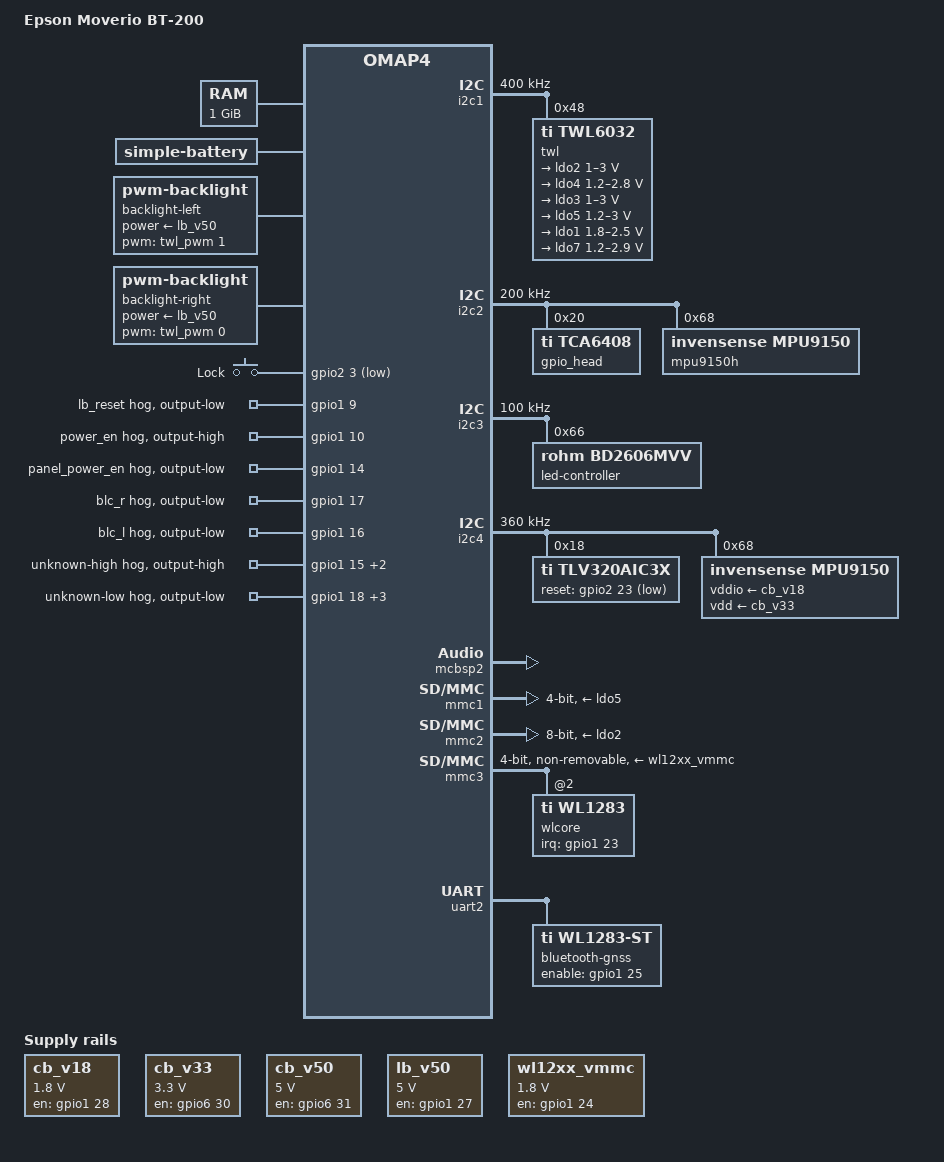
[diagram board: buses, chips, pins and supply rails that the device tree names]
// SPDX-License-Identifier: GPL-2.0-only
/*
 * Copyright (C) 2023 Andreas Kemnade
 */
/dts-v1/;

#include <dt-bindings/leds/common.h>
#include <dt-bindings/input/input.h>
#include "omap4460.dtsi"

/ {
	model = "Epson Moverio BT-200";
	compatible = "epson,embt2ws", "ti,omap4460", "ti,omap4";

	memory@80000000 {
		device_type = "memory";
		reg = <0x80000000 0x40000000>; /* 1024M */
	};

	battery: battery {
		compatible = "simple-battery";
		device-chemistry = "lithium-ion";
		charge-full-design-microamp-hours = <2720000>;
		voltage-max-design-microvolt = <4200000>;
		voltage-min-design-microvolt = <3300000>;

		constant-charge-voltage-max-microvolt = <4200000>;
		/*
		 * vendor kernel says max charge 1400000, input limit 900000
		 * and charges only with dcp chargers. So it is unclear what
		 * is really allowed. Play safe for now and restrict things
		 * here. Maybe 900000 is just the limit of the vendor charger?
		 */
		constant-charge-current-max-microamp = <900000>;
		charge-term-current-microamp = <200000>;
	};

	backlight-left {
		compatible = "pwm-backlight";
		pwms = <&twl_pwm 1 7812500>;
		power-supply = <&lb_v50>;
	};

	backlight-right {
		compatible = "pwm-backlight";
		pwms = <&twl_pwm 0 7812500>;
		power-supply = <&lb_v50>;
	};

	chosen {
		stdout-path = &uart3;
	};

	gpio-keys {
		compatible = "gpio-keys";
		pinctrl-names = "default";
		pinctrl-0 = <&gpio_keys_pins>;

		key-lock {
			label = "Lock";
			gpios = <&gpio2 3 GPIO_ACTIVE_LOW>;
			linux,code = <SW_ROTATE_LOCK>; /* SW_TOUCHPAD_LOCK */
			linux,input-type = <EV_SW>;
		};
	};

	cb_v18: regulator-cb-v18 {
		pinctrl-names = "default";
		pinctrl-0 = <&cb_v18_pins>;
		compatible = "regulator-fixed";
		regulator-name = "cb_v18";
		regulator-min-microvolt = <1800000>;
		regulator-max-microvolt = <1800000>;
		regulator-always-on;
		gpio = <&gpio1 28 GPIO_ACTIVE_HIGH>;
		enable-active-high;
	};

	cb_v33: regulator-cb-v33 {
		pinctrl-names = "default";
		pinctrl-0 = <&cb_v33_pins>;
		compatible = "regulator-fixed";
		regulator-name = "cb_v33";
		regulator-min-microvolt = <3300000>;
		regulator-max-microvolt = <3300000>;
		regulator-always-on;
		gpio = <&gpio6 30 GPIO_ACTIVE_HIGH>;
		enable-active-high;
	};

	regulator-cb-v50 {
		pinctrl-names = "default";
		pinctrl-0 = <&cb_v50_pins>;
		compatible = "regulator-fixed";
		regulator-name = "cb_v50";
		regulator-min-microvolt = <5000000>;
		regulator-max-microvolt = <5000000>;
		regulator-always-on;
		gpio = <&gpio6 31 GPIO_ACTIVE_HIGH>;
		enable-active-high;
	};

	lb_v50: regulator-lb-v50 {
		/* required for many things at the head (probably indirectly) */
		pinctrl-names = "default";
		pinctrl-0 = <&lb_v50_pins>;
		compatible = "regulator-fixed";
		regulator-name = "lb_v50";
		regulator-min-microvolt = <5000000>;
		regulator-max-microvolt = <5000000>;
		regulator-always-on;
		gpio = <&gpio1 27 GPIO_ACTIVE_HIGH>;
		enable-active-high;
	};

	wl12xx_pwrseq: wl12xx-pwrseq {
		compatible = "mmc-pwrseq-simple";
		clocks = <&twl 1>;
		clock-names = "ext_clock";
	};

       /* regulator for wl12xx on sdio2 */
	wl12xx_vmmc: wl12xx-vmmc {
		pinctrl-names = "default";
		pinctrl-0 = <&wl12xx_gpio>;
		compatible = "regulator-fixed";
		regulator-name = "vwl1271";
		regulator-min-microvolt = <1800000>;
		regulator-max-microvolt = <1800000>;
		gpio = <&gpio1 24 GPIO_ACTIVE_HIGH>;
		startup-delay-us = <70000>;
		enable-active-high;
	};
};

&gpio1 {
	pinctrl-names = "default";
	pinctrl-0 = <&gpio1_hog_pins &gpio1wk_hog_pins>;

	lb-reset-hog {
		gpio-hog;
		gpios = <9 GPIO_ACTIVE_HIGH>;
		output-low;
		line-name = "lb_reset";
	};

	power-en-hog {
		gpio-hog;
		gpios = <10 GPIO_ACTIVE_HIGH>;
		output-high;
		line-name = "power_en";
	};

	/*
	 * Name taken from vendor kernel but no evidence of actual usage found
	 * nor what it really controls.
	 */
	panel-power-en-hog {
		gpio-hog;
		gpios = <14 GPIO_ACTIVE_HIGH>;
		output-low;
		line-name = "panel_power_en";
	};

	/*
	 * These two are exported to sysfs in vendor kernel, usage unknown,
	 * backlight state seems unrelated to these.
	 */
	blc-r-hog {
		gpio-hog;
		gpios = <17 GPIO_ACTIVE_HIGH>;
		output-low;
		line-name = "blc_r";
	};

	blc-l-hog {
		gpio-hog;
		gpios = <16 GPIO_ACTIVE_HIGH>;
		output-low;
		line-name = "blc_l";
	};

	high-hog {
		gpio-hog;
		gpios = <15 GPIO_ACTIVE_HIGH /* maybe dsi to dpi chip reset? */
			 21 GPIO_ACTIVE_HIGH
			 26 GPIO_ACTIVE_HIGH>;
		output-high;
		line-name = "unknown-high";
	};

	low-hog {
		gpio-hog;
		gpios = <18 GPIO_ACTIVE_HIGH
			 19 GPIO_ACTIVE_HIGH
			 20 GPIO_ACTIVE_HIGH
			 22 GPIO_ACTIVE_HIGH>;
		output-low;
		line-name = "unknown-low";
	};
};

&i2c1 {
	pinctrl-names = "default";
	pinctrl-0 = <&i2c1_pins>;

	clock-frequency = <400000>;

	twl: pmic@48 {
		compatible = "ti,twl6032";
		reg = <0x48>;
		#clock-cells = <1>;
		/* IRQ# = 7 */
		interrupts = <GIC_SPI 7 IRQ_TYPE_LEVEL_HIGH>; /* IRQ_SYS_1N cascaded to gic */
		interrupt-controller;
		#interrupt-cells = <1>;
		system-power-controller;

		charger {
			compatible = "ti,twl6032-charger", "ti,twl6030-charger";
			interrupts = <2>, <5>;
			io-channels = <&gpadc 10>;
			io-channel-names = "vusb";
			monitored-battery = <&battery>;
		};

		rtc {
			compatible = "ti,twl4030-rtc";
			interrupts = <11>;
		};

		ldo2: regulator-ldo2 {
			compatible = "ti,twl6032-ldo2";
			regulator-min-microvolt = <1000000>;
			regulator-max-microvolt = <3000000>;
		};

		ldo4: regulator-ldo4 {
			compatible = "ti,twl6032-ldo4";
			regulator-min-microvolt = <1200000>;
			regulator-max-microvolt = <2800000>;
		};

		ldo3: regulator-ldo3 {
			compatible = "ti,twl6032-ldo3";
			regulator-min-microvolt = <1000000>;
			regulator-max-microvolt = <3000000>;
		};

		ldo5: regulator-ldo5 {
			compatible = "ti,twl6032-ldo5";
			regulator-min-microvolt = <1200000>;
			regulator-max-microvolt = <3000000>;
			ti,retain-on-reset;
		};

		ldo1: regulator-ldo1 {
			compatible = "ti,twl6032-ldo1";
			regulator-min-microvolt = <1800000>;
			regulator-max-microvolt = <2500000>;
		};

		ldo7: regulator-ldo7 {
			compatible = "ti,twl6032-ldo7";
			regulator-min-microvolt = <1200000>;
			regulator-max-microvolt = <2900000>;
		};

		ldoln: regulator-ldoln {
			compatible = "ti,twl6032-ldoln";
			regulator-always-on;
		};

		ldo6: regulator-ldo6 {
			compatible = "ti,twl6032-ldo6";
			regulator-always-on;
		};

		ldousb: regulator-ldousb {
			compatible = "ti,twl6032-ldousb";
			regulator-always-on;
		};

		vio: regulator-vio {
			compatible = "ti,twl6032-vio";
			regulator-always-on;
		};

		twl_usb_comparator: usb-comparator {
			compatible = "ti,twl6030-usb";
			interrupts = <4>, <10>;
		};

		twl_pwm: pwm {
			/* provides two PWMs (id 0, 1 for PWM1 and PWM2) */
			compatible = "ti,twl6030-pwm";
			#pwm-cells = <2>;
		};

		twl_pwmled: pwmled {
			/* provides one PWM (id 0 for Charging indicator LED) */
			compatible = "ti,twl6030-pwmled";
			#pwm-cells = <2>;
		};

		gpadc: gpadc {
			compatible = "ti,twl6032-gpadc";
			interrupts = <3>;
			#io-channel-cells = <1>;
		};

	};
};

#include "twl6030_omap4.dtsi"

&twl_usb_comparator {
	usb-supply = <&ldousb>;
};


&i2c2 {
	pinctrl-names = "default";
	pinctrl-0 = <&i2c2_pins>;

	clock-frequency = <200000>;

	/* is sometimes not available, research needed */
	gpio_head: gpio@20 {
		compatible = "ti,tca6408";
		reg = <0x20>;
		gpio-controller;
		#gpio-cells = <2>;
	};

	/*
	 * camera chip at 0x3c, available if <&gpio_head 1> high
	 * and <&gpio_head 5> low
	 */

	/* at head/glasses */
	mpu9150h: imu@68 {
		compatible = "invensense,mpu9150";
		reg = <0x68>;

		pinctrl-names = "default";
		pinctrl-0 = <&mpu9150h_pins>;
		interrupt-parent = <&gpio2>;
		interrupt = <19 IRQ_TYPE_LEVEL_HIGH>;
	};
};

&i2c3 {
	pinctrl-names = "default";
	pinctrl-0 = <&i2c3_pins>;

	clock-frequency = <100000>;

	led-controller@66 {
		compatible = "rohm,bd2606mvv";
		reg = <0x66>;

		#address-cells = <1>;
		#size-cells = <0>;

		led@0 {
			reg = <0>;
			color = <LED_COLOR_ID_GREEN>;
			function = LED_FUNCTION_STATUS;
		};

		led@2 {
			reg = <2>;
			color = <LED_COLOR_ID_BLUE>;
			function = LED_FUNCTION_STATUS;
		};

		led@4 {
			reg = <4>;
			color = <LED_COLOR_ID_RED>;
			function = LED_FUNCTION_STATUS;
		};
	};
};

&i2c4 {
	pinctrl-names = "default";
	pinctrl-0 = <&i2c4_pins>;

	clock-frequency = <360000>;

	/* TODO: KXTI9 at 0xf */

	tlv320aic3x: codec@18 {
		compatible = "ti,tlv320aic3x";
		reg = <0x18>;
		pinctrl-names = "default";
		pinctrl-0 = <&tlv320aic3x_pins>;
		#sound-dai-cells = <0>;

		reset-gpios = <&gpio2 23 GPIO_ACTIVE_LOW>;
	};

	mpu9150: imu@68 {
		compatible = "invensense,mpu9150";
		reg = <0x68>;

		pinctrl-names = "default";
		pinctrl-0 = <&mpu9150_pins>;
		interrupt-parent = <&gpio2>;
		interrupt = <7 IRQ_TYPE_LEVEL_HIGH>;
		vddio-supply = <&cb_v18>;
		vdd-supply = <&cb_v33>;
		invensense,level-shifter;
	};
};

&keypad {
	pinctrl-names = "default";
	pinctrl-0 = <&keypad_pins>;
	keypad,num-rows = <2>;
	keypad,num-columns = <3>;
	linux,keymap = <MATRIX_KEY(0, 0, KEY_MENU)
			MATRIX_KEY(0, 1, KEY_HOME)
			MATRIX_KEY(0, 2, KEY_BACK)
			MATRIX_KEY(1, 0, KEY_ESC)
			MATRIX_KEY(1, 1, KEY_VOLUMEDOWN)
			MATRIX_KEY(1, 2, KEY_VOLUMEUP)>;
	linux,input-no-autorepeat;
};

&mcbsp2 {
	#sound-dai-cells = <0>;
	pinctrl-names = "default";
	pinctrl-0 = <&mcbsp2_pins>;
	status = "okay";
};


&mmc1 {
	/* sdcard */
	vmmc-supply = <&ldo5>;
	broken-cd;
	bus-width = <4>;
};

&mmc2 {
	/* emmc */
	vmmc-supply = <&ldo2>;
	bus-width = <8>;
};

&mmc3 {
	pinctrl-names = "default";
	pinctrl-0 = <&wl12xx_pins>;
	vmmc-supply = <&wl12xx_vmmc>;
	mmc-pwrseq = <&wl12xx_pwrseq>;
	interrupts-extended = <&wakeupgen GIC_SPI 94 IRQ_TYPE_LEVEL_HIGH
			       &omap4_pmx_core 0x12e>;
	non-removable;
	bus-width = <4>;
	cap-power-off-card;

	#address-cells = <1>;
	#size-cells = <0>;
	wlcore: wlcore@2 {
		compatible = "ti,wl1283";
		reg = <2>;
		interrupts-extended = <&gpio1 23 IRQ_TYPE_LEVEL_HIGH>;
		interrupt-names = "irq";
		ref-clock-frequency = <26000000>;
		tcxo-clock-frequency = <26000000>;
	};
};

&mmc4 {
	status = "disabled";
};

&mmc5 {
	status = "disabled";
};

&omap4_pmx_core {
	bt_pins: pinmux-bt-pins {
		pinctrl-single,pins = <
			OMAP4_IOPAD(0x1ca, PIN_OUTPUT | MUX_MODE3) /* gpio25 */
		>;
	};

	cb_v18_pins: pinmux-cb-v18-pins {
		pinctrl-single,pins = <
			OMAP4_IOPAD(0x1d0, PIN_OUTPUT | MUX_MODE3) /* gpio28 */
		>;
	};

	cb_v33_pins: pinmux-cb-v33-pins {
		pinctrl-single,pins = <
			OMAP4_IOPAD(0x1d2, PIN_OUTPUT | MUX_MODE3) /* gpio190 */
		>;
	};

	cb_v50_pins: pinmux-cb-v50-pins {
		pinctrl-single,pins = <
			OMAP4_IOPAD(0x1d4, PIN_OUTPUT | MUX_MODE3) /* gpio191 */
		>;
	};

	gpio_keys_pins: pinmux-gpio-key-pins {
		pinctrl-single,pins = <
			OMAP4_IOPAD(0x56, PIN_INPUT_PULLUP | MUX_MODE3) /* gpio35 */
		>;
	};

	gpio1_hog_pins: pinmux-gpio1-hog-pins {
		pinctrl-single,pins = <
			OMAP4_IOPAD(0x1b4, PIN_OUTPUT | MUX_MODE3) /* gpio14 */
			OMAP4_IOPAD(0x1b8, PIN_OUTPUT | MUX_MODE3) /* gpio16 */
			OMAP4_IOPAD(0x1ba, PIN_OUTPUT | MUX_MODE3) /* gpio17 */

			OMAP4_IOPAD(0x1b6, PIN_OUTPUT | MUX_MODE3) /* gpio15 */
			OMAP4_IOPAD(0x1bc, PIN_OUTPUT | MUX_MODE3) /* gpio18 */
			OMAP4_IOPAD(0x1be, PIN_OUTPUT | MUX_MODE3) /* gpio19 */
			OMAP4_IOPAD(0x1c0, PIN_OUTPUT | MUX_MODE3) /* gpio20 */
			OMAP4_IOPAD(0x1c2, PIN_OUTPUT | MUX_MODE3) /* gpio21 */
			OMAP4_IOPAD(0x1c4, PIN_OUTPUT | MUX_MODE3) /* gpio22 */
			OMAP4_IOPAD(0x1cc, PIN_OUTPUT | MUX_MODE3) /* gpio26 */
		>;
	};

	i2c1_pins: pinmux-i2c1-pins {
		pinctrl-single,pins = <
			   OMAP4_IOPAD(0x122, PIN_INPUT_PULLUP | MUX_MODE0)	/* i2c1_scl */
			   OMAP4_IOPAD(0x124, PIN_INPUT_PULLUP | MUX_MODE0)	/* i2c1_sda */
		>;
	};

	i2c2_pins: pinmux-i2c2-pins {
		pinctrl-single,pins = <
			OMAP4_IOPAD(0x126, PIN_INPUT | MUX_MODE0)	/* i2c2_scl */
			OMAP4_IOPAD(0x128, PIN_INPUT | MUX_MODE0)	/* i2c2_sda */
		>;
	};

	i2c3_pins: pinmux-i2c3-pins {
		pinctrl-single,pins = <
			OMAP4_IOPAD(0x12a, PIN_INPUT | MUX_MODE0)	/* i2c3_scl */
			OMAP4_IOPAD(0x12c, PIN_INPUT | MUX_MODE0)	/* i2c3_sda */
		>;
	};

	i2c4_pins: pinmux-i2c4-pins {
		pinctrl-single,pins = <
			OMAP4_IOPAD(0x12e, PIN_INPUT | MUX_MODE0)	/* i2c4_scl */
			OMAP4_IOPAD(0x130, PIN_INPUT | MUX_MODE0)	/* i2c4_sda */
		>;
	};

	keypad_pins: pinmux-keypad-pins {
		pinctrl-single,pins = <
			/* kpd_row0 */
			OMAP4_IOPAD(0x0050, PIN_INPUT_PULLUP | MUX_MODE1)
			/* kpd_row1 */
			OMAP4_IOPAD(0x0052, PIN_INPUT_PULLUP | MUX_MODE1)
			/* kpd_row2 */
			OMAP4_IOPAD(0x0054, PIN_INPUT_PULLUP | MUX_MODE1)
			/* kpd_col0 */
			OMAP4_IOPAD(0x0058, PIN_OUTPUT | MUX_MODE1)
			/* kpd_col1 */
			OMAP4_IOPAD(0x005a, PIN_OUTPUT | MUX_MODE1)
			/* kpd_col2 */
			OMAP4_IOPAD(0x005c, PIN_OUTPUT | MUX_MODE1)
		>;
	};

	lb_v50_pins: pinmux-lb-v50-pins {
		pinctrl-single,pins = <
			OMAP4_IOPAD(0x1ce, PIN_OUTPUT | MUX_MODE3) /* gpio27 */
		>;
	};

	mcbsp2_pins: pinmux-mcbsp2-pins {
		pinctrl-single,pins = <
			OMAP4_IOPAD(0x0f6, PIN_INPUT | MUX_MODE0)       /* abe_mcbsp2_clkx */
			OMAP4_IOPAD(0x0f8, PIN_INPUT | MUX_MODE0)       /* abe_mcbsp2_dr */
			OMAP4_IOPAD(0x0fa, PIN_OUTPUT | MUX_MODE0)      /* abe_mcbsp2_dx */
			OMAP4_IOPAD(0x0fc, PIN_INPUT | MUX_MODE0)       /* abe_mcbsp2_fsx */
		>;
	};

	mpu9150_pins: pinmux-mpu9150-pins {
		pinctrl-single,pins = <
			OMAP4_IOPAD(0x5e, PIN_INPUT_PULLUP | MUX_MODE3)
		>;
	};

	mpu9150h_pins: pinmux-mpu9150h-pins {
		pinctrl-single,pins = <
			OMAP4_IOPAD(0x76, PIN_INPUT_PULLUP | MUX_MODE3)
		>;
	};

	tlv320aic3x_pins: pinmux-tlv320aic3x-pins {
		pinctrl-single,pins = <
			OMAP4_IOPAD(0x7e, PIN_OUTPUT | MUX_MODE3)
		>;
	};

	uart2_pins: pinmux-uart2-pins {
		pinctrl-single,pins = <
			OMAP4_IOPAD(0x118, PIN_INPUT_PULLUP | MUX_MODE0) /* uart2_cts.uart2_cts */
			OMAP4_IOPAD(0x11a, PIN_OUTPUT | MUX_MODE0)	 /* uart2_rts.uart2_rts */
			OMAP4_IOPAD(0x11c, PIN_INPUT_PULLUP | MUX_MODE0) /* uart2_rx.uart2_rx */
			OMAP4_IOPAD(0x11e, PIN_OUTPUT | MUX_MODE0)	 /* uart2_tx.uart2_tx */
		>;
	};

	uart3_pins: pinmux-uart3-pins {
		pinctrl-single,pins = <
			OMAP4_IOPAD(0x144, PIN_INPUT | MUX_MODE0)  /* uart3_rx_irrx */
			OMAP4_IOPAD(0x146, PIN_OUTPUT | MUX_MODE0) /* uart3_tx_irtx */
		>;
	};

	usb_otg_hs_pins: pinmux-usb-otg-hs-pins {
		 pinctrl-single,pins = <
			 OMAP4_IOPAD(0x194, PIN_OUTPUT_PULLDOWN | MUX_MODE0) /* usba0_otg_ce */
			 OMAP4_IOPAD(0x196, PIN_INPUT | MUX_MODE0)	     /* usba0_otg_dp */
			 OMAP4_IOPAD(0x198, PIN_INPUT | MUX_MODE0)	     /* usba0_otg_dm */
		 >;
	};

	wl12xx_pins: pinmux-wl12xx-pins {
		pinctrl-single,pins = <
			OMAP4_IOPAD(0x1c6, PIN_INPUT | MUX_MODE3) /* gpio_23 / IRQ */
			OMAP4_IOPAD(0x16c, PIN_INPUT_PULLUP | MUX_MODE2) /* sdmmc3_dat2 */
			OMAP4_IOPAD(0x16e, PIN_INPUT_PULLUP | MUX_MODE2) /* sdmmc3_dat1 */
			OMAP4_IOPAD(0x170, PIN_INPUT_PULLUP | MUX_MODE2) /* sdmmc3_dat0 */
			OMAP4_IOPAD(0x172, PIN_INPUT_PULLUP | MUX_MODE2) /* sdmmc3_dat3 */
			OMAP4_IOPAD(0x174, PIN_INPUT_PULLUP | MUX_MODE2) /* sdmmc3_cmd */
			OMAP4_IOPAD(0x176, PIN_INPUT_PULLUP | MUX_MODE2) /* sdmmc3_clk */
		>;
	};

	wl12xx_gpio: pinmux-wl12xx-gpio-pins {
		pinctrl-single,pins = <
			OMAP4_IOPAD(0x1c8, PIN_OUTPUT | MUX_MODE3)  /* gpio_24 / WLAN_EN */
		>;
	};
};

&omap4_pmx_wkup {
	gpio1wk_hog_pins: pinmux-gpio1wk-hog-pins {
		pinctrl-single,pins = <
			OMAP4_IOPAD(0x68, PIN_INPUT_PULLDOWN | MUX_MODE3) /* gpio9 */
			OMAP4_IOPAD(0x6a, PIN_INPUT | MUX_MODE3) /* gpio10 */
		>;
	};
};

&uart2 {
	pinctrl-names = "default";
	pinctrl-0 = <&uart2_pins &bt_pins>;
	interrupts-extended = <&wakeupgen GIC_SPI 73 IRQ_TYPE_LEVEL_HIGH
			       &omap4_pmx_core OMAP4_UART2_RX>;

	bluetooth-gnss {
		compatible = "ti,wl1283-st";
		enable-gpios = <&gpio1 25 GPIO_ACTIVE_HIGH>;	/* GPIO_25 */
		clocks = <&twl 1>;
		clock-names = "ext_clock";
	};
};

&uart3 {
	pinctrl-names = "default";
	pinctrl-0 = <&uart3_pins>;
	interrupts-extended = <&wakeupgen GIC_SPI 74 IRQ_TYPE_LEVEL_HIGH
			       &omap4_pmx_core OMAP4_UART3_RX>;
};

&usb_otg_hs {
	pinctrl-names = "default";
	pinctrl-0 = <&usb_otg_hs_pins>;

	interface-type = <1>;
	mode = <3>;
	power = <50>;
};

&usbhshost {
	status = "disabled";
};
